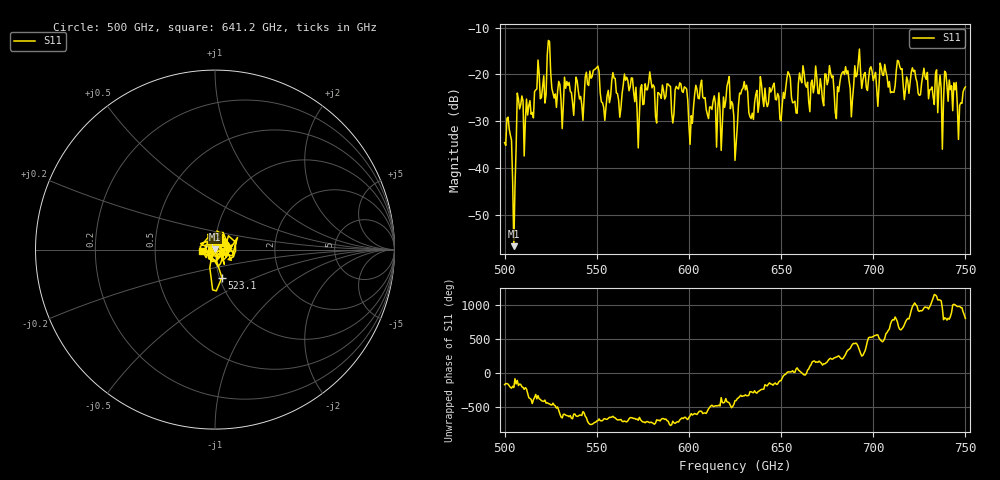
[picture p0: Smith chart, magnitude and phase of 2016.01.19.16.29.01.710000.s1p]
!Created with skrf (http://scikit-rf.org).
# GHz S RI R 50.0
!freq ReS11 ImS11
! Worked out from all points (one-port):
!   401 points, 500 GHz to 750 GHz, reference 50 ohm
!   lowest |S11| = -56.6 dB at 505 GHz (marker M1), VSWR 1.00, Z = 49.9 + j0.0779 ohm
!   |S11| at or under -10 dB: start of sweep to end of sweep
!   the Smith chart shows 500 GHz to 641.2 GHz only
!   S11 on the Smith chart (normalised r, x): 500 GHz: 0.96, -0.01; 523.1 GHz: 1.03, -0.33; 641.2 GHz: 0.87, -0.02
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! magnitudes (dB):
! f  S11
! 500 GHz  -34.5
! 502.5 GHz  -31.6
! 505 GHz  -56.6
! 508.1 GHz  -27.3
! 511.9 GHz  -25.2
! 523.1 GHz  -15.9
! 531.2 GHz  -31.5
! 541.9 GHz  -26.4
! 549.4 GHz  -18.8
! 553.8 GHz  -27.0
! 559.4 GHz  -20.8
! 562.5 GHz  -29.1
! 593.8 GHz  -22.9
! 601.2 GHz  -28.8
! 605.6 GHz  -25.2
! 616.2 GHz  -23.9
! 621.9 GHz  -20.4
! 625 GHz  -38.3
! 630 GHz  -21.5
! 633.8 GHz  -29.4
! 641.2 GHz  -22.9
! 656.2 GHz  -26.0
! 687.5 GHz  -23.0
! 691.2 GHz  -20.1
! 718.8 GHz  -21.4
! 740 GHz  -22.3
! 746.9 GHz  -26.6
! 750 GHz  -22.7
